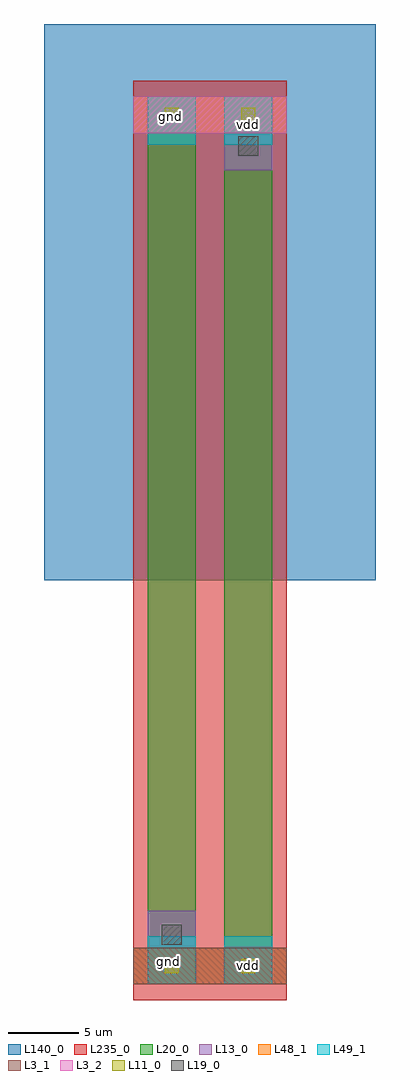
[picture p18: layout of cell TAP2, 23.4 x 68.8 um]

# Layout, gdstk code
import gdstk
lib = gdstk.Library(unit=1e-6, precision=1e-09)
def R(c, l, rs):  # rectangles x0, y0, x1, y1
    for r in rs: c.add(gdstk.rectangle(r[:2], r[2:], *l))
def P(c, l, *ps):  # polygons
    for p in ps: c.add(gdstk.Polygon(p, *l))
L3_1 = (3, 1)
L3_2 = (3, 2)
L11_0 = (11, 0)
L13_0 = (13, 0)
L19_0 = (19, 0)
L20_0 = (20, 0)
L48_1 = (48, 1)
L49_1 = (49, 1)
L140_0 = (140, 0)
L235_0 = (235, 0)

tap2 = lib.new_cell('TAP2')
R(tap2, L3_1, [(0,1.1,10.8,3.7)])
R(tap2, L3_2, [(0,61.1,10.8,63.7)])
R(tap2, L11_0, [(2.2,1.9,3.2,2.9), (7.6,1.9,8.6,2.9), (7.6,1.9,8.6,2.9), (2.2,61.9,3.2,62.9), (2.2,61.9,3.2,62.9), (7.6,61.9,8.6,62.9)])
P(tap2, L13_0, [(0,1.1),(0,3.7),(1,3.7),(1,6.3),(4.4,6.3),(4.4,3.7),(10.8,3.7),(10.8,1.1)],
  [(6.4,58.5),(6.4,61.1),(0,61.1),(0,63.7),(10.8,63.7),(10.8,61.1),(9.8,61.1),(9.8,58.5)])
R(tap2, L19_0, [(2,3.9,3.4,5.3), (7.4,59.5,8.8,60.9)])
R(tap2, L20_0, [(1,1.1,4.4,63.7), (6.4,1.1,9.8,63.7)])
R(tap2, L48_1, [(0,1.1,10.8,3.7), (0,61.1,10.8,63.7)])
R(tap2, L49_1, [(1,1.1,4.4,4.5), (6.4,1.1,9.8,4.5), (1,60.3,4.4,63.7), (6.4,60.3,9.8,63.7)])
R(tap2, L140_0, [(-6.3,29.6,17.1,68.8)])
R(tap2, L235_0, [(0,0,10.8,64.8)])
tap2.add(gdstk.Label('gnd', (2.5,2.7), layer=49, texttype=0))
tap2.add(gdstk.Label('vdd', (8.1,61.7), layer=49, texttype=0))
tap2.add(gdstk.Label('vdd', (8.1,2.4), layer=49, texttype=0))
tap2.add(gdstk.Label('gnd', (2.6,62.3), layer=49, texttype=0))
tap2.add(gdstk.Label('gnd', (2.7,2.4), layer=48, texttype=0))
tap2.add(gdstk.Label('vdd', (2.7,62.5), layer=48, texttype=0))

lib.write_gds('TAP2.gds')
